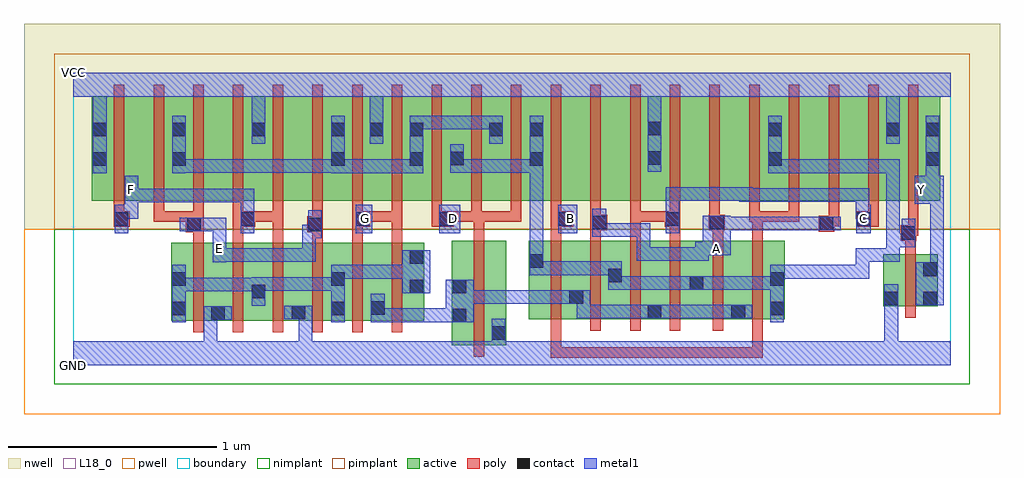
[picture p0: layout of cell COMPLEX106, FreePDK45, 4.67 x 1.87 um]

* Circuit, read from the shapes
.subckt COMPLEX106 A B C D E F G GND VCC Y
M1 GND E n1 VSUBS nfet w=0.375u l=0.05u m=2
M2 n1 F GND VSUBS nfet w=0.375u l=0.05u m=2
M3 n2 G n1 VSUBS nfet w=0.375u l=0.05u m=2
M4 GND D n2 VSUBS nfet w=0.5u l=0.05u
M5 n2 B n3 VSUBS nfet w=0.375u l=0.05u m=2
M6 n3 A n2 VSUBS nfet w=0.375u l=0.05u m=2
M7 n2 C n3 VSUBS nfet w=0.375u l=0.05u m=2
M8 Y n3 GND VSUBS nfet w=0.25u l=0.05u
M9 n4 F VCC n5 pfet w=0.5u l=0.05u
M10 n6 E n4 n5 pfet w=0.5u l=0.05u
M11 n7 E n6 n5 pfet w=0.5u l=0.05u
M12 VCC F n7 n5 pfet w=0.5u l=0.05u
M13 n8 F VCC n5 pfet w=0.5u l=0.05u
M14 n6 E n8 n5 pfet w=0.5u l=0.05u
M15 VCC G n6 n5 pfet w=0.5u l=0.05u m=2
M16 n3 D n6 n5 pfet w=0.5u l=0.05u m=3
M17 n9 B n3 n5 pfet w=0.5u l=0.05u
M18 n10 A n9 n5 pfet w=0.5u l=0.05u
M19 VCC C n10 n5 pfet w=0.5u l=0.05u
M20 n11 C VCC n5 pfet w=0.5u l=0.05u
M21 n12 A n11 n5 pfet w=0.5u l=0.05u
M22 n3 B n12 n5 pfet w=0.5u l=0.05u
M23 n13 B n3 n5 pfet w=0.5u l=0.05u
M24 n14 A n13 n5 pfet w=0.5u l=0.05u
M25 VCC C n14 n5 pfet w=0.5u l=0.05u
M26 Y n3 VCC n5 pfet w=0.5u l=0.05u
.ends

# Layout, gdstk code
import gdstk
lib = gdstk.Library(unit=1e-6, precision=1e-09)
def R(c, l, rs):  # rectangles x0, y0, x1, y1
    for r in rs: c.add(gdstk.rectangle(r[:2], r[2:], *l))
def A(c, l, x, y, w, h, nx, ny, dx, dy):  # array of equal rectangles
    R(c, l, [(x+i*dx, y+j*dy, x+i*dx+w, y+j*dy+h) for i in range(nx) for j in range(ny)])
active = (1, 0)
pwell = (2, 0)
nwell = (3, 0)
nimplant = (4, 0)
pimplant = (5, 0)
poly = (9, 0)
contact = (10, 0)
metal1 = (11, 0)
L18_0 = (18, 0)
boundary = (235, 0)

complex106 = lib.new_cell('COMPLEX106')
A(complex106, active, 0.85, 0.212, 0.265, 0.375, 3, 1, 0.19, 0)
A(complex106, active, 0.09, 0.787, 0.225, 0.5, 3, 1, 0.38, 0)
A(complex106, active, 0.315, 0.787, 0.23, 0.5, 3, 1, 0.38, 0)
A(complex106, active, 2.405, 0.787, 0.19, 0.5, 3, 1, 0.57, 0)
R(complex106, active, [(1.812,0.095,1.887,0.595), (1.812,0.095,2.072,0.595), (1.997,0.095,2.072,0.595), (0.47,0.212,0.73,0.587), (0.655,0.212,0.73,0.467), (0.655,0.212,0.925,0.587), (1.04,0.212,1.115,0.467), (1.42,0.212,1.68,0.587), (0.47,0.217,0.545,0.587), (0.85,0.217,0.925,0.467), (1.23,0.22,1.305,0.467), (1.42,0.22,1.495,0.467), (1.605,0.22,1.68,0.587), (2.18,0.22,2.255,0.595), (2.18,0.22,2.445,0.595), (2.37,0.22,2.63,0.595), (2.37,0.22,2.445,0.512), (2.555,0.22,2.63,0.592), (2.555,0.22,2.82,0.595), (2.745,0.22,3.02,0.595), (2.745,0.22,2.82,0.592), (2.945,0.22,3.22,0.595), (2.945,0.22,3.02,0.592), (3.145,0.22,3.405,0.595), (3.145,0.22,3.22,0.512), (3.33,0.22,3.405,0.595), (3.877,0.282,3.952,0.532), (3.877,0.282,4.137,0.532), (4.062,0.282,4.137,0.532), (0.09,0.787,0.165,1.205), (0.47,0.787,0.545,1.2), (1.23,0.787,1.49,1.287), (1.23,0.787,1.305,1.2), (1.415,0.787,1.68,1.287), (1.415,0.787,1.49,1.242), (1.605,0.787,1.68,1.2), (1.605,0.787,1.875,1.287), (1.8,0.787,2.06,1.287), (1.8,0.787,1.875,1.07), (1.985,0.787,2.06,1.2), (1.985,0.787,2.255,1.287), (2.18,0.787,2.255,1.2), (2.18,0.787,2.405,1.287), (2.595,0.787,2.82,1.287), (2.745,0.787,2.82,1.287), (2.745,0.787,2.975,1.287), (3.165,0.787,3.395,1.287), (3.32,0.787,3.545,1.287), (3.735,0.787,3.96,1.287), (3.885,0.787,4.15,1.287), (3.885,0.787,3.96,1.205), (4.075,0.787,4.15,1.2), (0.85,0.807,0.925,1.205), (3.32,0.807,3.395,1.2)])
R(complex106, pwell, [(-0.235,-0.235,4.435,0.65)])
R(complex106, nwell, [(-0.235,0.65,4.435,1.635)])
R(complex106, nimplant, [(-0.09,-0.09,4.29,0.65)])
R(complex106, pimplant, [(-0.09,0.65,4.29,1.49)])
A(complex106, poly, 0.575, 0.157, 0.05, 0.485, 6, 1, 0.19, 0)
A(complex106, poly, 2.285, 0.165, 0.05, 0.485, 4, 1, 0.19, 0)
A(complex106, poly, 0.195, 0.687, 0.05, 0.095, 5, 1, 0.19, 0)
A(complex106, poly, 1.335, 0.687, 0.05, 0.095, 6, 1, 0.19, 0)
A(complex106, poly, 0.195, 0.732, 0.05, 0.61, 21, 1, 0.19, 0)
R(complex106, poly, [(2.285,0.037,2.335,0.087), (2.285,0.037,2.335,0.087), (2.285,0.037,2.335,0.087), (2.285,0.037,2.335,0.215), (2.285,0.037,2.467,0.087), (2.417,0.037,2.467,0.087), (2.417,0.037,2.62,0.087), (2.57,0.037,2.62,0.087), (2.57,0.037,2.62,0.087), (2.57,0.037,2.62,0.087), (2.57,0.037,2.81,0.087), (2.76,0.037,2.81,0.087), (2.76,0.037,2.847,0.087), (2.797,0.037,2.847,0.087), (2.797,0.037,3.015,0.087), (2.965,0.037,3.015,0.087), (2.965,0.037,3.015,0.087), (2.965,0.037,3.015,0.087), (2.965,0.037,3.3,0.087), (3.25,0.037,3.3,0.087), (3.25,0.037,3.3,0.087), (3.25,0.037,3.3,0.087), (3.25,0.037,3.3,0.215), (1.917,0.04,1.967,0.65), (3.06,0.165,3.11,0.65), (3.25,0.165,3.3,0.65), (3.982,0.227,4.032,0.587), (3.982,0.537,4.032,0.645), (0.575,0.592,0.625,0.687), (0.765,0.592,0.815,0.712), (0.955,0.592,1.005,0.737), (1.145,0.592,1.195,0.687), (1.335,0.592,1.385,0.712), (1.525,0.592,1.575,0.737), (3.96,0.595,4.035,0.67), (1.917,0.6,1.967,0.737), (2.285,0.6,2.335,0.712), (2.475,0.6,2.525,0.695), (2.665,0.6,2.715,0.737), (2.855,0.6,2.905,0.712), (3.06,0.6,3.11,0.695), (3.25,0.6,3.3,0.737), (3.985,0.62,4.035,0.67), (3.985,0.62,4.045,0.67), (3.995,0.62,4.045,0.782), (0.54,0.637,0.625,0.712), (1.12,0.637,1.195,0.712), (3.567,0.64,3.642,0.715), (2.475,0.645,2.555,0.72), (3.042,0.645,3.117,0.72), (0.195,0.662,0.27,0.737), (0.575,0.662,0.625,0.737), (0.765,0.662,0.815,0.712), (0.765,0.662,0.815,0.712), (0.765,0.662,0.872,0.737), (1.145,0.662,1.195,0.712), (1.145,0.662,1.195,0.712), (1.145,0.662,1.195,0.782), (1.335,0.662,1.422,0.737), (1.715,0.662,1.822,0.737), (2.285,0.662,2.392,0.737), (2.83,0.662,2.905,0.737), (2.855,0.662,2.905,0.712), (2.855,0.662,2.905,0.712), (3.747,0.662,3.855,0.737), (3.592,0.665,3.642,0.715), (3.592,0.665,3.665,0.715), (3.615,0.665,3.665,0.782), (2.475,0.67,2.525,0.72), (2.475,0.67,2.525,0.72), (2.475,0.67,2.525,0.782), (3.045,0.67,3.095,0.72), (3.045,0.67,3.095,0.72), (3.045,0.67,3.095,0.782), (0.385,0.687,0.435,0.737), (0.385,0.687,0.625,0.737), (0.575,0.687,0.625,0.737), (0.575,0.687,0.625,0.737), (0.575,0.687,0.625,0.737), (0.822,0.687,0.872,0.737), (0.822,0.687,0.872,0.737), (0.822,0.687,1.005,0.737), (0.955,0.687,1.005,0.737), (0.955,0.687,1.005,0.737), (0.955,0.687,1.005,0.737), (1.335,0.687,1.385,0.737), (1.335,0.687,1.385,0.737), (1.372,0.687,1.575,0.737), (1.525,0.687,1.575,0.737), (1.525,0.687,1.575,0.737), (1.525,0.687,1.575,0.737), (1.525,0.687,1.575,0.737), (1.525,0.687,1.575,0.737), (1.772,0.687,1.955,0.737), (1.905,0.687,1.955,0.737), (1.905,0.687,1.955,0.737), (1.905,0.687,1.967,0.737), (1.917,0.687,1.967,0.737), (1.917,0.687,1.967,0.737), (1.917,0.687,2.145,0.737), (2.095,0.687,2.145,0.737), (2.095,0.687,2.145,0.737), (2.095,0.687,2.145,0.737), (2.285,0.687,2.335,0.737), (2.285,0.687,2.335,0.737), (2.665,0.687,2.715,0.737), (2.665,0.687,2.715,0.737), (2.665,0.687,2.715,0.737), (2.665,0.687,2.715,0.782), (2.665,0.687,2.88,0.737), (2.83,0.687,2.88,0.737), (2.83,0.687,2.88,0.737), (2.855,0.687,2.905,0.782), (3.235,0.687,3.285,0.782), (3.235,0.687,3.3,0.737), (3.25,0.687,3.3,0.737), (3.25,0.687,3.3,0.737), (3.25,0.687,3.475,0.737), (3.425,0.687,3.475,0.737), (3.425,0.687,3.475,0.737), (3.425,0.687,3.475,0.737), (3.425,0.687,3.475,0.782), (3.805,0.687,3.855,0.782)])
A(complex106, contact, 0.095, 1.095, 0.065, 0.065, 4, 1, 0.38, 0)
R(complex106, contact, [(2.002,0.122,2.067,0.187), (1.817,0.205,1.882,0.27), (0.66,0.217,0.725,0.282), (1.045,0.22,1.11,0.285), (2.75,0.225,2.815,0.29), (3.15,0.225,3.215,0.29), (0.475,0.24,0.54,0.305), (1.235,0.24,1.3,0.305), (3.335,0.24,3.4,0.305), (1.425,0.242,1.49,0.307), (3.882,0.287,3.947,0.352), (4.067,0.287,4.132,0.352), (2.375,0.295,2.44,0.36), (0.855,0.32,0.92,0.385), (1.61,0.345,1.675,0.41), (1.817,0.345,1.882,0.41), (2.95,0.362,3.015,0.427), (0.475,0.38,0.54,0.445), (1.235,0.38,1.3,0.445), (3.335,0.38,3.4,0.445), (2.56,0.397,2.625,0.462), (4.067,0.427,4.132,0.492), (2.185,0.467,2.25,0.532), (1.61,0.485,1.675,0.55), (3.965,0.6,4.03,0.665), (0.545,0.642,0.61,0.707), (1.125,0.642,1.19,0.707), (3.572,0.645,3.637,0.71), (2.485,0.65,2.55,0.715), (3.047,0.65,3.112,0.715), (0.2,0.667,0.265,0.732), (0.802,0.667,0.867,0.732), (1.352,0.667,1.417,0.732), (1.752,0.667,1.817,0.732), (2.322,0.667,2.387,0.732), (2.835,0.667,2.9,0.732), (3.752,0.667,3.817,0.732), (0.095,0.955,0.16,1.02), (0.475,0.955,0.54,1.02), (1.235,0.955,1.3,1.02), (1.61,0.955,1.675,1.02), (2.185,0.955,2.25,1.02), (3.325,0.955,3.39,1.02), (4.08,0.955,4.145,1.02), (1.805,0.957,1.87,1.022), (2.75,0.96,2.815,1.025), (1.42,1.095,1.485,1.16), (1.61,1.095,1.675,1.16), (1.99,1.095,2.055,1.16), (2.185,1.095,2.25,1.16), (3.325,1.095,3.39,1.16), (3.89,1.095,3.955,1.16), (4.08,1.095,4.145,1.16), (2.75,1.1,2.815,1.165)])
R(complex106, metal1, [(0,0,4.2,0.115), (0.625,0.05,0.69,0.115), (0.625,0.05,0.69,0.115), (0.625,0.05,0.69,0.282), (1.08,0.05,1.145,0.115), (1.08,0.05,1.145,0.115), (1.08,0.05,1.145,0.285), (2.002,0.05,2.067,0.152), (3.882,0.05,3.947,0.115), (3.882,0.05,3.947,0.115), (3.882,0.05,3.947,0.317), (2.002,0.087,2.067,0.222), (0.475,0.205,0.54,0.48), (1.235,0.205,1.3,0.48), (1.782,0.205,1.917,0.41), (3.335,0.205,3.4,0.48), (1.425,0.207,1.49,0.272), (1.425,0.207,1.49,0.272), (1.425,0.207,1.49,0.342), (1.425,0.207,1.64,0.272), (1.575,0.207,1.64,0.272), (1.575,0.207,1.64,0.272), (1.575,0.207,1.64,0.272), (1.575,0.207,1.847,0.272), (0.625,0.217,0.76,0.282), (1.01,0.22,1.145,0.285), (2.41,0.225,2.475,0.36), (2.41,0.225,2.612,0.29), (2.547,0.225,2.612,0.29), (2.547,0.225,2.762,0.29), (2.697,0.225,2.762,0.29), (2.697,0.225,2.78,0.29), (2.715,0.225,2.85,0.29), (2.785,0.225,2.9,0.29), (2.835,0.225,2.9,0.29), (2.835,0.225,2.987,0.29), (2.922,0.225,2.987,0.29), (2.922,0.225,3.18,0.29), (3.115,0.225,3.18,0.29), (3.115,0.225,3.18,0.29), (3.115,0.225,3.25,0.29), (3.882,0.252,3.947,0.317), (3.882,0.252,3.947,0.317), (3.882,0.252,3.947,0.387), (0.855,0.285,0.92,0.42), (4.032,0.287,4.167,0.492), (1.852,0.295,1.917,0.36), (1.852,0.295,1.917,0.36), (1.852,0.295,2.112,0.36), (2.047,0.295,2.112,0.36), (2.047,0.295,2.112,0.36), (2.047,0.295,2.112,0.36), (2.047,0.295,2.267,0.36), (2.202,0.295,2.267,0.36), (2.202,0.295,2.267,0.36), (2.202,0.295,2.267,0.36), (2.202,0.295,2.405,0.36), (2.34,0.295,2.475,0.36), (2.41,0.295,2.475,0.36), (1.575,0.345,1.71,0.55), (0.475,0.355,0.54,0.42), (0.475,0.355,0.54,0.42), (0.475,0.355,0.782,0.42), (0.717,0.355,0.782,0.42), (0.717,0.355,0.782,0.42), (0.717,0.355,0.782,0.42), (0.717,0.355,0.92,0.42), (0.855,0.355,0.92,0.42), (0.855,0.355,0.92,0.422), (0.855,0.357,1.162,0.422), (1.097,0.357,1.162,0.422), (1.097,0.357,1.162,0.422), (1.097,0.357,1.162,0.422), (1.097,0.357,1.3,0.422), (2.56,0.362,2.625,0.497), (2.56,0.362,2.762,0.427), (2.697,0.362,2.762,0.427), (2.697,0.362,2.762,0.427), (2.697,0.362,2.762,0.427), (2.697,0.362,2.9,0.427), (2.835,0.362,2.9,0.427), (2.835,0.362,2.98,0.427), (2.915,0.362,3.05,0.427), (2.985,0.362,3.19,0.427), (3.125,0.362,3.19,0.427), (3.125,0.362,3.19,0.427), (3.125,0.362,3.19,0.427), (3.125,0.362,3.327,0.427), (3.262,0.362,3.327,0.427), (3.262,0.362,3.4,0.427), (1.235,0.415,1.3,0.48), (1.235,0.415,1.3,0.48), (1.235,0.415,1.437,0.48), (1.372,0.415,1.437,0.48), (1.372,0.415,1.437,0.48), (1.372,0.415,1.437,0.48), (1.372,0.415,1.64,0.48), (3.335,0.415,3.465,0.48), (3.4,0.415,3.465,0.48), (3.4,0.415,3.602,0.48), (3.537,0.415,3.602,0.48), (3.537,0.415,3.602,0.48), (3.537,0.415,3.602,0.48), (3.537,0.415,3.81,0.48), (3.745,0.415,3.81,0.48), (3.745,0.415,3.81,0.56), (4.102,0.427,4.167,0.837), (2.185,0.432,2.25,0.497), (2.185,0.432,2.25,0.497), (2.185,0.432,2.25,0.567), (2.185,0.432,2.475,0.497), (2.41,0.432,2.475,0.497), (2.41,0.432,2.475,0.497), (2.41,0.432,2.475,0.497), (2.41,0.432,2.625,0.497), (0.667,0.492,0.732,0.707), (0.667,0.495,0.782,0.56), (0.717,0.495,0.782,0.56), (0.717,0.495,0.937,0.56), (0.872,0.495,0.937,0.56), (0.872,0.495,0.937,0.56), (0.872,0.495,0.937,0.56), (0.872,0.495,1.162,0.56), (1.097,0.495,1.162,0.672), (3.745,0.495,3.81,0.56), (3.745,0.495,3.81,0.56), (3.745,0.495,3.81,0.56), (3.745,0.495,3.955,0.56), (3.89,0.495,3.955,0.63), (2.697,0.5,2.762,0.635), (2.697,0.5,2.9,0.565), (2.835,0.5,2.9,0.565), (2.835,0.5,3.042,0.565), (2.977,0.5,3.042,0.592), (2.185,0.502,2.25,0.567), (2.185,0.502,2.25,0.567), (2.185,0.502,2.25,0.567), (2.185,0.502,2.25,0.567), (2.185,0.502,2.25,0.985), (2.977,0.527,3.077,0.592), (3.012,0.527,3.147,0.715), (3.89,0.565,3.955,0.63), (3.89,0.565,3.955,0.63), (3.89,0.565,4.03,0.63), (3.89,0.565,3.955,0.985), (3.965,0.565,4.03,0.7), (2.697,0.57,2.762,0.635), (2.697,0.57,2.762,0.68), (1.097,0.607,1.19,0.672), (1.125,0.607,1.19,0.742), (2.485,0.615,2.625,0.68), (2.485,0.615,2.55,0.75), (2.56,0.615,2.625,0.68), (2.56,0.615,2.762,0.68), (0.2,0.632,0.265,0.767), (0.802,0.632,0.867,0.845), (1.352,0.632,1.432,0.767), (1.752,0.632,1.852,0.767), (2.322,0.632,2.412,0.767), (2.835,0.632,2.9,0.852), (3.747,0.632,3.817,0.767), (0.51,0.642,0.645,0.707), (0.58,0.642,0.732,0.707), (3.082,0.645,3.187,0.71), (3.122,0.645,3.187,0.71), (3.122,0.645,3.327,0.71), (3.262,0.645,3.327,0.71), (3.262,0.645,3.465,0.71), (3.4,0.645,3.465,0.71), (3.4,0.645,3.465,0.71), (3.4,0.645,3.465,0.71), (3.4,0.645,3.602,0.71), (3.537,0.645,3.602,0.71), (3.537,0.645,3.602,0.71), (3.537,0.645,3.672,0.71), (0.2,0.702,0.312,0.767), (0.247,0.702,0.312,0.907), (3.745,0.702,3.812,0.767), (3.745,0.702,3.81,0.847), (4.027,0.772,4.167,0.907), (4.102,0.772,4.167,0.837), (4.102,0.772,4.167,0.837), (0.247,0.78,0.402,0.845), (0.337,0.78,0.402,0.845), (0.337,0.78,0.54,0.845), (0.475,0.78,0.54,0.845), (0.475,0.78,0.54,0.845), (0.475,0.78,0.54,0.845), (0.475,0.78,0.677,0.845), (0.612,0.78,0.677,0.845), (0.612,0.78,0.867,0.845), (3.187,0.782,3.327,0.847), (3.187,0.782,3.252,0.852), (3.262,0.782,3.327,0.847), (3.262,0.782,3.465,0.847), (3.4,0.782,3.465,0.847), (3.4,0.782,3.465,0.847), (3.4,0.782,3.465,0.847), (3.4,0.782,3.672,0.847), (3.607,0.782,3.672,0.847), (3.607,0.782,3.672,0.847), (3.607,0.782,3.672,0.847), (3.607,0.782,3.81,0.847), (2.835,0.787,3.037,0.852), (2.972,0.787,3.037,0.852), (2.972,0.787,3.037,0.852), (2.972,0.787,3.037,0.852), (2.972,0.787,3.252,0.852), (4.08,0.842,4.145,0.985), (0.095,0.92,0.16,1.195), (0.475,0.92,0.54,1.195), (1.235,0.92,1.3,1.195), (1.235,0.92,1.3,0.985), (1.235,0.92,1.3,0.985), (1.235,0.92,1.502,0.985), (1.437,0.92,1.502,0.985), (1.437,0.92,1.502,0.985), (1.437,0.92,1.502,0.985), (1.437,0.92,1.675,0.985), (1.61,0.92,1.675,1.195), (2.185,0.92,2.25,1.195), (3.325,0.92,3.39,1.195), (3.325,0.92,3.465,0.985), (3.4,0.92,3.465,0.985), (3.4,0.92,3.672,0.985), (3.607,0.92,3.672,0.985), (3.607,0.92,3.672,0.985), (3.607,0.92,3.672,0.985), (3.607,0.92,3.81,0.985), (3.745,0.92,3.81,0.985), (3.745,0.92,3.81,0.985), (3.745,0.92,3.81,0.985), (3.745,0.92,3.955,0.985), (3.89,0.92,3.955,0.985), (4.08,0.92,4.145,1.195), (0.475,0.922,0.54,0.987), (0.475,0.922,0.54,0.987), (0.475,0.922,0.782,0.987), (0.717,0.922,0.782,0.987), (0.717,0.922,0.782,0.987), (0.717,0.922,0.782,0.987), (0.717,0.922,0.937,0.987), (0.872,0.922,0.937,0.987), (0.872,0.922,0.937,0.987), (0.872,0.922,0.937,0.987), (0.872,0.922,1.075,0.987), (1.01,0.922,1.075,0.987), (1.01,0.922,1.075,0.987), (1.01,0.922,1.075,0.987), (1.01,0.922,1.3,0.987), (1.805,0.922,1.87,0.987), (1.805,0.922,1.87,0.987), (1.805,0.922,1.87,1.057), (1.805,0.922,2.055,0.987), (1.99,0.922,2.055,0.987), (1.99,0.922,2.055,0.987), (1.99,0.922,2.055,0.987), (1.99,0.922,2.25,0.987), (2.75,0.925,2.815,1.2), (0.855,1.06,0.92,1.195), (1.42,1.06,1.485,1.195), (1.99,1.06,2.055,1.195), (3.89,1.06,3.955,1.195), (0.095,1.13,0.16,1.35), (0.855,1.13,0.92,1.35), (1.42,1.13,1.485,1.35), (1.61,1.13,1.675,1.195), (1.61,1.13,1.675,1.195), (1.61,1.13,1.812,1.195), (1.747,1.13,1.812,1.195), (1.747,1.13,1.812,1.195), (1.747,1.13,1.812,1.195), (1.747,1.13,2.055,1.195), (3.89,1.13,3.955,1.35), (2.75,1.135,2.815,1.35), (0,1.285,4.2,1.4)])
R(complex106, L18_0, [(0,0,4.2,0.115), (0.625,0.05,0.69,0.115), (0.625,0.05,0.69,0.115), (0.625,0.05,0.69,0.282), (1.08,0.05,1.145,0.115), (1.08,0.05,1.145,0.115), (1.08,0.05,1.145,0.285), (2.002,0.05,2.067,0.152), (3.882,0.05,3.947,0.115), (3.882,0.05,3.947,0.115), (3.882,0.05,3.947,0.317), (2.002,0.087,2.067,0.222), (0.625,0.217,0.76,0.282), (1.01,0.22,1.145,0.285), (3.882,0.252,3.947,0.387), (3.882,0.252,3.947,0.317), (3.882,0.252,3.947,0.317), (4.032,0.287,4.167,0.492), (4.102,0.427,4.167,0.837), (0.667,0.492,0.732,0.707), (0.667,0.495,0.782,0.56), (0.717,0.495,0.782,0.56), (0.717,0.495,0.937,0.56), (0.872,0.495,0.937,0.56), (0.872,0.495,0.937,0.56), (0.872,0.495,0.937,0.56), (0.872,0.495,1.162,0.56), (1.097,0.495,1.162,0.672), (2.697,0.5,2.762,0.635), (2.697,0.5,2.9,0.565), (2.835,0.5,2.9,0.565), (2.835,0.5,3.042,0.565), (2.977,0.5,3.042,0.592), (0.667,0.527,0.732,0.592), (2.977,0.527,3.077,0.592), (3.012,0.527,3.147,0.715), (3.047,0.527,3.112,0.592), (2.697,0.57,2.762,0.635), (2.697,0.57,2.762,0.68), (1.097,0.607,1.19,0.672), (1.125,0.607,1.19,0.742), (2.485,0.615,2.55,0.75), (2.485,0.615,2.625,0.68), (2.56,0.615,2.625,0.68), (2.56,0.615,2.762,0.68), (0.2,0.632,0.265,0.767), (0.802,0.632,0.867,0.845), (1.352,0.632,1.432,0.767), (1.752,0.632,1.852,0.767), (2.322,0.632,2.412,0.767), (2.835,0.632,2.9,0.852), (3.747,0.632,3.817,0.767), (0.51,0.642,0.645,0.707), (0.58,0.642,0.732,0.707), (3.082,0.645,3.187,0.71), (3.122,0.645,3.187,0.71), (3.122,0.645,3.327,0.71), (3.262,0.645,3.327,0.71), (3.262,0.645,3.465,0.71), (3.4,0.645,3.465,0.71), (3.4,0.645,3.465,0.71), (3.4,0.645,3.465,0.71), (3.4,0.645,3.602,0.71), (3.537,0.645,3.602,0.71), (3.537,0.645,3.602,0.71), (3.537,0.645,3.672,0.71), (1.367,0.667,1.432,0.732), (1.787,0.667,1.852,0.732), (2.347,0.667,2.412,0.732), (3.747,0.667,3.812,0.732), (0.2,0.702,0.312,0.767), (0.247,0.702,0.312,0.907), (3.745,0.702,3.81,0.847), (3.745,0.702,3.812,0.767), (4.027,0.772,4.167,0.907), (4.102,0.772,4.167,0.837), (4.102,0.772,4.167,0.837), (0.247,0.78,0.402,0.845), (0.337,0.78,0.402,0.845), (0.337,0.78,0.54,0.845), (0.475,0.78,0.54,0.845), (0.475,0.78,0.54,0.845), (0.475,0.78,0.54,0.845), (0.475,0.78,0.677,0.845), (0.612,0.78,0.677,0.845), (0.612,0.78,0.867,0.845), (3.187,0.782,3.327,0.847), (3.187,0.782,3.252,0.852), (3.262,0.782,3.327,0.847), (3.262,0.782,3.465,0.847), (3.4,0.782,3.465,0.847), (3.4,0.782,3.465,0.847), (3.4,0.782,3.465,0.847), (3.4,0.782,3.672,0.847), (3.607,0.782,3.672,0.847), (3.607,0.782,3.672,0.847), (3.607,0.782,3.672,0.847), (3.607,0.782,3.81,0.847), (2.835,0.787,3.037,0.852), (2.972,0.787,3.037,0.852), (2.972,0.787,3.037,0.852), (2.972,0.787,3.037,0.852), (2.972,0.787,3.252,0.852), (0.247,0.807,0.312,0.872), (4.027,0.807,4.092,0.872), (4.08,0.842,4.145,0.985), (0.095,0.92,0.16,1.195), (4.08,0.92,4.145,1.195), (2.75,0.925,2.815,1.2), (0.855,1.06,0.92,1.195), (1.42,1.06,1.485,1.195), (3.89,1.06,3.955,1.195), (0.095,1.13,0.16,1.35), (0.855,1.13,0.92,1.35), (1.42,1.13,1.485,1.35), (3.89,1.13,3.955,1.35), (2.75,1.135,2.815,1.35), (0,1.285,4.2,1.4)])
R(complex106, boundary, [(0,0,4.2,1.4)])
complex106.add(gdstk.Label('A', (3.08,0.56), layer=11, texttype=0))
complex106.add(gdstk.Label('B', (2.38,0.7), layer=11, texttype=0))
complex106.add(gdstk.Label('C', (3.78,0.7), layer=11, texttype=0))
complex106.add(gdstk.Label('D', (1.82,0.7), layer=11, texttype=0))
complex106.add(gdstk.Label('E', (0.7,0.56), layer=11, texttype=0))
complex106.add(gdstk.Label('F', (0.28,0.84), layer=11, texttype=0))
complex106.add(gdstk.Label('G', (1.4,0.7), layer=11, texttype=0))
complex106.add(gdstk.Label('Y', (4.06,0.84), layer=11, texttype=0))
complex106.add(gdstk.Label('VCC', (0,1.4), layer=11, texttype=0))
complex106.add(gdstk.Label('GND', (0,0), layer=11, texttype=0))

lib.write_gds('COMPLEX106.gds')
